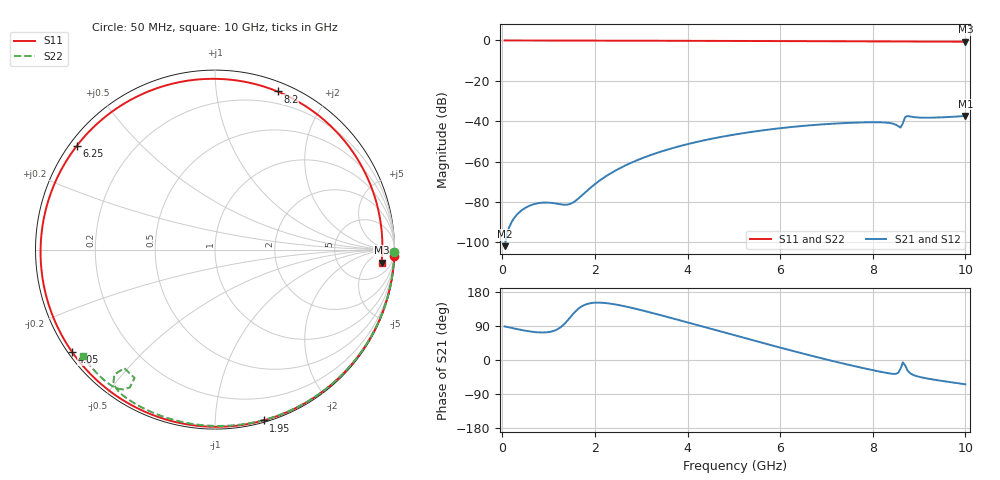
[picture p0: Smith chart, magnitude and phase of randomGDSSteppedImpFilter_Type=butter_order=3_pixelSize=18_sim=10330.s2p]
! freq	dB(S11)	phase(S11)	dB(S12)	phase(S12)
!  dB(S21)	phase(S21)	dB(S22)	phase(S22)
!S-par simulation data
#  GHz  S  DB  R 50
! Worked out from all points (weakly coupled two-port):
!   200 points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, 50 MHz to 10 GHz, reference 50 ohm
!   highest |S21| = -37.38 dB at 10 GHz (marker M1); lowest = -101.8 dB at 50 MHz (marker M2)
!   lowest |S11| = -0.6 dB at 10 GHz (marker M3), VSWR 27.99, Z = 645 - j697 ohm
!   |S11| at or under -10 dB: nowhere
!   |S22| runs from -1.6 to 0.0 dB; largest |S21 - S12| = 0
!   S11 on the Smith chart (normalised r, x): 50 MHz: 0, -57; 1.95 GHz: 0.01, -1.32; 4.05 GHz: 0.01, -0.32; 6.25 GHz: 0.02, +0.33; 8.2 GHz: 0.09, +1.47; 10 GHz: 13, -14
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0.05  -0.00 -2.0  -101.82 88.7  -101.82 88.7  -0.00 -0.8
0.75  -0.04 -29.4  -80.66 73.2  -80.66 73.2  -0.02 -12.3
1.55  -0.07 -59.6  -79.89 124.4  -79.89 124.4  -0.03 -25.2
1.75  -0.08 -66.9  -76.05 143.8  -76.05 143.8  -0.04 -28.4
1.95  -0.09 -74.1  -72.04 150.7  -72.04 150.7  -0.04 -31.5
2.6  -0.12 -96.8  -62.52 142.8  -62.52 142.8  -0.05 -41.7
3.4  -0.15 -123.4  -55.21 119.0  -55.21 119.0  -0.07 -53.9
4.05  -0.18 -144.4  -51.05 97.5  -51.05 97.5  -0.09 -63.6
5.05  -0.24 -176.5  -46.44 64.0  -46.44 64.0  -0.12 -77.9
5.65  -0.28 163.8  -44.41 44.1  -44.41 44.1  -0.14 -86.2
6.25  -0.33 143.2  -42.83 24.6  -42.83 24.6  -0.17 -94.4
6.7  -0.36 127.0  -41.90 10.5  -41.90 10.5  -0.19 -100.4
7.5  -0.42 96.6  -40.78 -13.3  -40.78 -13.3  -0.25 -110.9
8.2  -0.47 68.4  -40.54 -31.8  -40.54 -31.8  -0.32 -120.5
8.35  -0.48 62.3  -40.80 -35.2  -40.80 -35.2  -0.36 -122.9
8.6  -0.50 52.0  -43.11 -22.9  -43.11 -22.9  -0.98 -128.9
8.65  -0.50 49.9  -40.98 -6.2  -40.98 -6.2  -1.60 -127.4
8.7  -0.51 47.8  -37.92 -14.7  -37.92 -14.7  -1.47 -122.0
8.75  -0.51 45.7  -37.42 -27.3  -37.42 -27.3  -0.89 -121.7
9.2  -0.54 27.2  -38.24 -49.4  -38.24 -49.4  -0.41 -130.7
9.6  -0.58 11.1  -37.94 -57.1  -37.94 -57.1  -0.44 -136.1
10  -0.62 -4.4  -37.38 -64.1  -37.38 -64.1  -0.48 -141.3
